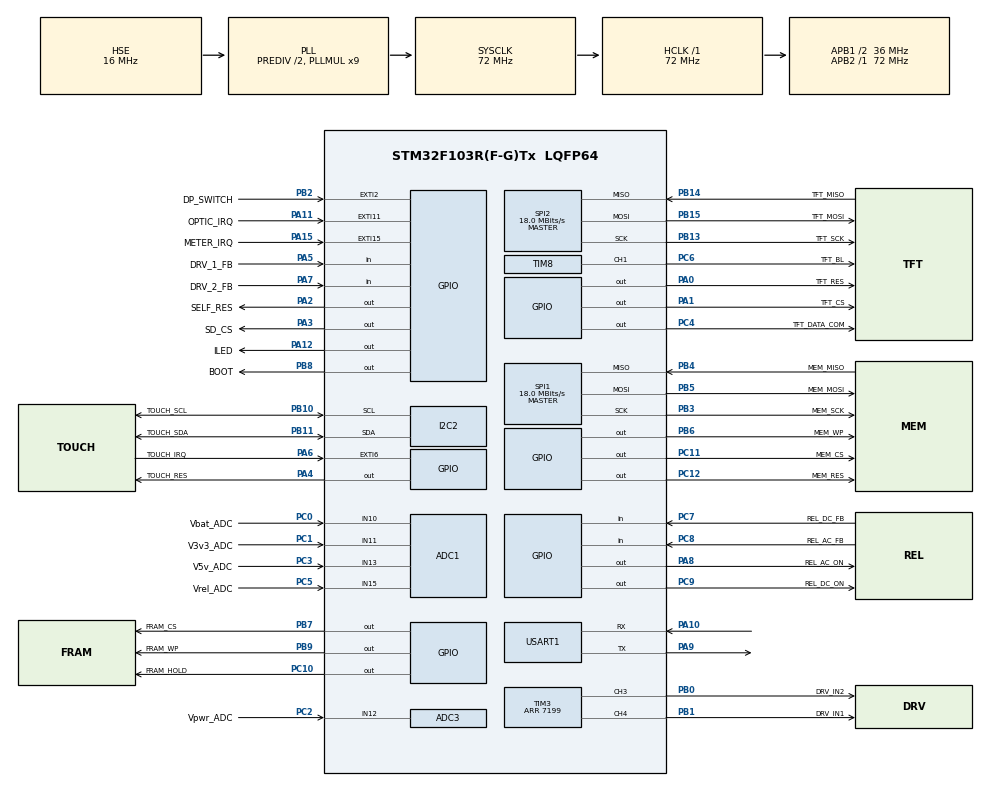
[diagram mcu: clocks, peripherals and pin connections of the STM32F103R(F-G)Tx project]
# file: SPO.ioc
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ADC1.Channel-0\#ChannelRegularConversion=ADC_CHANNEL_10
ADC1.Channel-1\#ChannelRegularConversion=ADC_CHANNEL_11
ADC1.Channel-2\#ChannelRegularConversion=ADC_CHANNEL_13
ADC1.Channel-3\#ChannelRegularConversion=ADC_CHANNEL_15
ADC1.Channel-4\#ChannelRegularConversion=ADC_CHANNEL_TEMPSENSOR
ADC1.ContinuousConvMode=ENABLE
ADC1.NbrOfConversion=5
ADC1.NbrOfConversionFlag=1
ADC1.Rank-0\#ChannelRegularConversion=1
ADC1.Rank-1\#ChannelRegularConversion=2
ADC1.Rank-2\#ChannelRegularConversion=3
ADC1.Rank-3\#ChannelRegularConversion=4
ADC1.Rank-4\#ChannelRegularConversion=5
ADC1.SamplingTime-0\#ChannelRegularConversion=ADC_SAMPLETIME_239CYCLES_5
ADC1.SamplingTime-1\#ChannelRegularConversion=ADC_SAMPLETIME_239CYCLES_5
ADC1.SamplingTime-2\#ChannelRegularConversion=ADC_SAMPLETIME_239CYCLES_5
ADC1.SamplingTime-3\#ChannelRegularConversion=ADC_SAMPLETIME_239CYCLES_5
ADC1.SamplingTime-4\#ChannelRegularConversion=ADC_SAMPLETIME_239CYCLES_5
ADC1.master=1
ADC3.AWD1HighThreshold=4095
ADC3.AWD1ITMode=ENABLE
ADC3.AWD1LowThreshold=0
ADC3.Channel-0\#ChannelRegularConversion=ADC_CHANNEL_12
ADC3.ContinuousConvMode=ENABLE
ADC3.EnableAnalogWatchDog=true
ADC3.NbrOfConversionFlag=1
ADC3.Rank-0\#ChannelRegularConversion=1
ADC3.SamplingTime-0\#ChannelRegularConversion=ADC_SAMPLETIME_239CYCLES_5
ADC3.WatchdogChannel=ADC_CHANNEL_12
Dma.ADC1.1.Direction=DMA_PERIPH_TO_MEMORY
Dma.ADC1.1.Instance=DMA1_Channel1
Dma.ADC1.1.MemDataAlignment=DMA_MDATAALIGN_HALFWORD
Dma.ADC1.1.MemInc=DMA_MINC_ENABLE
Dma.ADC1.1.Mode=DMA_CIRCULAR
Dma.ADC1.1.PeriphDataAlignment=DMA_PDATAALIGN_HALFWORD
Dma.ADC1.1.PeriphInc=DMA_PINC_DISABLE
Dma.ADC1.1.Priority=DMA_PRIORITY_LOW
Dma.ADC3.0.Direction=DMA_PERIPH_TO_MEMORY
Dma.ADC3.0.Instance=DMA2_Channel5
Dma.ADC3.0.MemDataAlignment=DMA_MDATAALIGN_HALFWORD
Dma.ADC3.0.MemInc=DMA_MINC_DISABLE
Dma.ADC3.0.Mode=DMA_CIRCULAR
Dma.ADC3.0.PeriphDataAlignment=DMA_PDATAALIGN_HALFWORD
Dma.ADC3.0.PeriphInc=DMA_PINC_DISABLE
Dma.ADC3.0.Priority=DMA_PRIORITY_LOW
Dma.Request0=ADC3
Dma.Request1=ADC1
Dma.Request2=SPI1_RX
Dma.Request3=SPI1_TX
Dma.SPI1_RX.2.Direction=DMA_PERIPH_TO_MEMORY
Dma.SPI1_RX.2.Instance=DMA1_Channel2
Dma.SPI1_RX.2.MemDataAlignment=DMA_MDATAALIGN_BYTE
Dma.SPI1_RX.2.MemInc=DMA_MINC_ENABLE
Dma.SPI1_RX.2.Mode=DMA_NORMAL
Dma.SPI1_RX.2.PeriphDataAlignment=DMA_PDATAALIGN_BYTE
Dma.SPI1_RX.2.PeriphInc=DMA_PINC_DISABLE
Dma.SPI1_RX.2.Priority=DMA_PRIORITY_LOW
Dma.SPI1_TX.3.Direction=DMA_MEMORY_TO_PERIPH
Dma.SPI1_TX.3.Instance=DMA1_Channel3
Dma.SPI1_TX.3.MemDataAlignment=DMA_MDATAALIGN_BYTE
Dma.SPI1_TX.3.MemInc=DMA_MINC_ENABLE
Dma.SPI1_TX.3.Mode=DMA_NORMAL
Dma.SPI1_TX.3.PeriphDataAlignment=DMA_PDATAALIGN_BYTE
Dma.SPI1_TX.3.PeriphInc=DMA_PINC_DISABLE
Dma.SPI1_TX.3.Priority=DMA_PRIORITY_LOW
IWDG.Reload=110
Mcu.Family=STM32F1
Mcu.Name=STM32F103R(F-G)Tx
Mcu.Package=LQFP64
Mcu.UserConstants=TOUCH_I2C,&hi2c2;MOT_TIM,TIM3;LOGIC_TIM,TIM10;PISTON_CONTROL_TIM,TIM4;MEM_SPI,&hspi1;TFT_SPI,&hspi2;OPTIC_DELAY_TIM,TIM13;FLOW_TIM,TIM7;BL_TIM,TIM8;DELAY_TIM,TIM14;_10kHz_Presc,7199;PLANNER_TIM,TIM11;RAM_TIM,&htim12
NVIC.ADC1_2_IRQn=true\:4\:0\:true\:false\:true\:true\:true\:true
NVIC.ADC3_IRQn=true\:4\:0\:true\:false\:true\:true\:true\:true
NVIC.DMA1_Channel1_IRQn=true\:0\:0\:true\:false\:true\:false\:true\:true
NVIC.DMA1_Channel2_IRQn=true\:0\:0\:true\:false\:true\:false\:true\:true
NVIC.DMA1_Channel3_IRQn=true\:0\:0\:true\:false\:true\:false\:true\:true
NVIC.DMA2_Channel4_5_IRQn=true\:0\:0\:false\:false\:true\:false\:true\:true
NVIC.EXTI15_10_IRQn=true\:0\:0\:true\:false\:true\:true\:true\:true
NVIC.EXTI2_IRQn=true\:1\:0\:true\:false\:true\:true\:true\:true
NVIC.EXTI9_5_IRQn=true\:0\:0\:true\:false\:true\:true\:true\:true
NVIC.I2C2_ER_IRQn=true\:3\:0\:true\:false\:true\:true\:true\:true
NVIC.I2C2_EV_IRQn=true\:3\:0\:true\:false\:true\:true\:true\:true
NVIC.PriorityGroup=NVIC_PRIORITYGROUP_3
NVIC.RTC_IRQn=true\:5\:0\:true\:false\:true\:true\:true\:true
NVIC.SPI1_IRQn=true\:3\:0\:true\:false\:true\:true\:true\:true
NVIC.SPI2_IRQn=true\:3\:0\:true\:false\:true\:true\:true\:true
NVIC.TIM1_TRG_COM_TIM11_IRQn=true\:2\:1\:true\:false\:true\:true\:true\:true
NVIC.TIM1_UP_TIM10_IRQn=true\:1\:0\:true\:false\:true\:true\:true\:true
NVIC.TIM3_IRQn=true\:1\:0\:true\:false\:true\:true\:true\:true
NVIC.TIM4_IRQn=true\:1\:1\:true\:false\:true\:true\:true\:true
NVIC.TIM6_IRQn=true\:0\:0\:false\:false\:true\:true\:true\:true
NVIC.TIM7_IRQn=true\:1\:0\:true\:false\:true\:true\:true\:true
NVIC.TIM8_BRK_TIM12_IRQn=true\:4\:0\:true\:false\:true\:true\:true\:true
NVIC.TIM8_TRG_COM_TIM14_IRQn=true\:2\:0\:true\:false\:true\:true\:true\:true
NVIC.TIM8_UP_TIM13_IRQn=true\:0\:1\:true\:false\:true\:true\:true\:true
NVIC.USART1_IRQn=true\:4\:0\:true\:false\:true\:true\:true\:true
PA0-WKUP.GPIO_Label=TFT_RES
PA0-WKUP.PinState=GPIO_PIN_SET
PA0-WKUP.Signal=GPIO_Output
PA1.GPIO_Label=TFT_CS
PA1.PinState=GPIO_PIN_SET
PA1.Signal=GPIO_Output
PA10.Mode=Asynchronous
PA10.Signal=USART1_RX
PA11.GPIO_Label=OPTIC_IRQ
PA11.GPIO_ModeDefaultEXTI=GPIO_MODE_IT_RISING_FALLING
PA11.Signal=GPXTI11
PA12.GPIO_Label=ILED
PA12.PinState=GPIO_PIN_SET
PA12.Signal=GPIO_Output
PA13.Mode=Serial_Wire
PA13.Signal=SYS_JTMS-SWDIO
PA14.Mode=Serial_Wire
PA14.Signal=SYS_JTCK-SWCLK
PA15.GPIO_Label=METER_IRQ
PA15.GPIO_ModeDefaultEXTI=GPIO_MODE_IT_RISING_FALLING
PA15.GPIO_PuPd=GPIO_PULLUP
PA15.Signal=GPXTI15
PA2.GPIO_Label=SELF_RES
PA2.Signal=GPIO_Output
PA3.GPIO_Label=SD_CS
PA3.PinState=GPIO_PIN_SET
PA3.Signal=GPIO_Output
PA4.GPIO_Label=TOUCH_RES
PA4.PinState=GPIO_PIN_SET
PA4.Signal=GPIO_Output
PA5.GPIO_Label=DRV_1_FB
PA5.Signal=GPIO_Input
PA6.GPIO_Label=TOUCH_IRQ
PA6.GPIO_PuPd=GPIO_PULLUP
PA6.Signal=GPXTI6
PA7.GPIO_Label=DRV_2_FB
PA7.Signal=GPIO_Input
PA8.GPIO_Label=REL_AC_ON
PA8.Signal=GPIO_Output
PA9.Mode=Asynchronous
PA9.Signal=USART1_TX
PB0.GPIO_Label=DRV_IN2
PB0.Signal=S_TIM3_CH3
PB1.GPIO_Label=DRV_IN1
PB1.Signal=S_TIM3_CH4
PB10.GPIO_Label=TOUCH_SCL
PB10.Mode=I2C
PB10.Signal=I2C2_SCL
PB11.GPIO_Label=TOUCH_SDA
PB11.Mode=I2C
PB11.Signal=I2C2_SDA
PB13.GPIO_Label=TFT_SCK
PB13.Mode=Full_Duplex_Master
PB13.Signal=SPI2_SCK
PB14.GPIO_Label=TFT_MISO
PB14.Mode=Full_Duplex_Master
PB14.Signal=SPI2_MISO
PB15.GPIO_Label=TFT_MOSI
PB15.Mode=Full_Duplex_Master
PB15.Signal=SPI2_MOSI
PB2.GPIO_Label=DP_SWITCH
PB2.Signal=GPXTI2
PB3.GPIO_Label=MEM_SCK
PB3.Mode=Full_Duplex_Master
PB3.Signal=SPI1_SCK
PB4.GPIO_Label=MEM_MISO
PB4.Mode=Full_Duplex_Master
PB4.Signal=SPI1_MISO
PB5.GPIO_Label=MEM_MOSI
PB5.Mode=Full_Duplex_Master
PB5.Signal=SPI1_MOSI
PB6.GPIO_Label=MEM_WP
PB6.PinState=GPIO_PIN_RESET
PB6.Signal=GPIO_Output
PB7.GPIO_Label=FRAM_CS
PB7.PinState=GPIO_PIN_SET
PB7.Signal=GPIO_Output
PB8.GPIO_Label=BOOT
PB8.Signal=GPIO_Output
PB9.GPIO_Label=FRAM_WP
PB9.PinState=GPIO_PIN_RESET
PB9.Signal=GPIO_Output
PC0.GPIO_Label=Vbat_ADC
PC0.Signal=ADCx_IN10
PC1.GPIO_Label=V3v3_ADC
PC1.Signal=ADCx_IN11
PC10.GPIO_Label=FRAM_HOLD
PC10.PinState=GPIO_PIN_RESET
PC10.Signal=GPIO_Output
PC11.GPIO_Label=MEM_CS
PC11.PinState=GPIO_PIN_SET
PC11.Signal=GPIO_Output
PC12.GPIO_Label=MEM_RES
PC12.PinState=GPIO_PIN_RESET
PC12.Signal=GPIO_Output
PC14-OSC32_IN.Mode=LSE-External-Oscillator
PC14-OSC32_IN.Signal=RCC_OSC32_IN
PC15-OSC32_OUT.Mode=LSE-External-Oscillator
PC15-OSC32_OUT.Signal=RCC_OSC32_OUT
PC2.GPIO_Label=Vpwr_ADC
PC2.Signal=ADCx_IN12
PC3.GPIO_Label=V5v_ADC
PC3.Signal=ADCx_IN13
PC4.GPIO_Label=TFT_DATA_COM
PC4.PinState=GPIO_PIN_SET
PC4.Signal=GPIO_Output
PC5.GPIO_Label=Vrel_ADC
PC5.Signal=ADCx_IN15
PC6.GPIO_Label=TFT_BL
PC6.Signal=S_TIM8_CH1
PC7.GPIO_Label=REL_DC_FB
PC7.Signal=GPIO_Input
PC8.GPIO_Label=REL_AC_FB
PC8.Signal=GPIO_Input
PC9.GPIO_Label=REL_DC_ON
PC9.GPIO_PuPd=GPIO_PULLDOWN
PC9.Signal=GPIO_Output
PD0-OSC_IN.Mode=HSE-External-Oscillator
PD0-OSC_IN.Signal=RCC_OSC_IN
PD1-OSC_OUT.Mode=HSE-External-Oscillator
PD1-OSC_OUT.Signal=RCC_OSC_OUT
ProjectManager.HeapSize=0x800
ProjectManager.StackSize=0x1000
ProjectManager.TargetToolchain=MDK-ARM V5.32
RCC.ADCPresc=RCC_ADCPCLK2_DIV6
RCC.AHBFreq_Value=72000000
RCC.APB1CLKDivider=RCC_HCLK_DIV2
RCC.APB1Freq_Value=36000000
RCC.APB1TimFreq_Value=72000000
RCC.APB2Freq_Value=72000000
RCC.APB2TimFreq_Value=72000000
RCC.EnbaleCSS=true
RCC.HCLKFreq_Value=72000000
RCC.HSEDivPLL=RCC_HSE_PREDIV_DIV2
RCC.HSE_VALUE=16000000
RCC.PLLMUL=RCC_PLL_MUL9
RCC.PLLSourceVirtual=RCC_PLLSOURCE_HSE
RCC.RTCClockSelection=RCC_RTCCLKSOURCE_LSE
RCC.SYSCLKFreq_VALUE=72000000
RCC.SYSCLKSource=RCC_SYSCLKSOURCE_PLLCLK
RCC.USBFreq_Value=72000000
RTC.AsynchPrediv=32768
RTC.AutoPrediv=0
RTC.Date=7
RTC.Format=RTC_FORMAT_BCD
RTC.Hours=12
RTC.Month=RTC_MONTH_APRIL
RTC.WeekDay=RTC_WEEKDAY_TUESDAY
SH.ADCx_IN10.0=ADC1_IN10,IN10
SH.ADCx_IN11.0=ADC1_IN11,IN11
SH.ADCx_IN12.0=ADC3_IN12,IN12
SH.ADCx_IN13.0=ADC1_IN13,IN13
SH.ADCx_IN15.0=ADC1_IN15,IN15
SH.S_TIM3_CH3.0=TIM3_CH3,PWM Generation3 CH3
SH.S_TIM3_CH4.0=TIM3_CH4,PWM Generation4 CH4
SH.S_TIM8_CH1.0=TIM8_CH1,PWM Generation1 CH1
SPI1.BaudRatePrescaler=SPI_BAUDRATEPRESCALER_4
SPI1.CalculateBaudRate=18.0 MBits/s
SPI1.Direction=SPI_DIRECTION_2LINES
SPI1.Mode=SPI_MODE_MASTER
SPI1.VirtualType=VM_MASTER
SPI2.CalculateBaudRate=18.0 MBits/s
SPI2.Direction=SPI_DIRECTION_2LINES
SPI2.Mode=SPI_MODE_MASTER
SPI2.VirtualType=VM_MASTER
TIM10.Period=99
TIM10.Prescaler=_10kHz_Presc
TIM11.Period=99
TIM11.Prescaler=_10kHz_Presc
TIM12.Channel-Output\ Compare1\ No\ Output=TIM_CHANNEL_1
TIM12.Period=39
TIM12.Prescaler=_10kHz_Presc
TIM13.Period=1
TIM13.Prescaler=_10kHz_Presc
TIM14.Period=71
TIM3.Channel-PWM\ Generation3\ CH3=TIM_CHANNEL_3
TIM3.Channel-PWM\ Generation4\ CH4=TIM_CHANNEL_4
TIM3.Period=7199
TIM4.Period=99
TIM4.Prescaler=_10kHz_Presc
TIM6.Period=1
TIM6.Prescaler=_10kHz_Presc
TIM8.Channel-PWM\ Generation1\ CH1=TIM_CHANNEL_1
TIM8.OCMode_PWM-PWM\ Generation1\ CH1=TIM_OCMODE_PWM1
TIM8.Period=99
TIM8.Prescaler=_10kHz_Presc
USART1.Parity=PARITY_NONE
USART1.StopBits=STOPBITS_2
USART1.VirtualMode=VM_ASYNC
USART1.WordLength=WORDLENGTH_8B
VP_ADC1_TempSens_Input.Mode=IN-TempSens
VP_CRC_VS_CRC.Mode=CRC_Activate
VP_IWDG_VS_IWDG.Mode=IWDG_Activate
VP_RTC_No_RTC_Output.Mode=RTC_OUT_NO
VP_RTC_VS_RTC_Activate.Mode=RTC_Enabled
VP_RTC_VS_RTC_Calendar.Mode=RTC_Calendar
VP_TIM10_VS_ClockSourceINT.Mode=Enable_Timer
VP_TIM11_VS_ClockSourceINT.Mode=Enable_Timer
VP_TIM12_VS_no_output1.Mode=Output Compare1 No Output
VP_TIM13_VS_ClockSourceINT.Mode=Enable_Timer
VP_TIM14_VS_ClockSourceINT.Mode=Enable_Timer
VP_TIM4_VS_ClockSourceINT.Mode=Internal
VP_TIM6_VS_ClockSourceINT.Mode=Enable_Timer
VP_TIM7_VS_ClockSourceINT.Mode=Enable_Timer
board=custom

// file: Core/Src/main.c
/* USER CODE BEGIN Header */
/**
  ******************************************************************************
  * @file           : main.c
  * @brief          : Main program body
  ******************************************************************************
  * @attention
  *
  * Copyright (c) 2023 STMicroelectronics.
  * All rights reserved.
  *
  * This software is licensed under terms that can be found in the LICENSE file
  * in the root directory of this software component.
  * If no LICENSE file comes with this software, it is provided AS-IS.
  *
  ******************************************************************************
  */
/* USER CODE END Header */
#include "main.h"
#include "adc.h"
#include "crc.h"
#include "dma.h"
#include "i2c.h"
#include "iwdg.h"
#include "rtc.h"
#include "spi.h"
#include "tim.h"
#include "usart.h"
#include "gpio.h"

/* USER CODE BEGIN PV */
	volatile uint32_t _1ms_cnt;
	uint8_t* errorCause;

	//filter_t fil;
	//uint32_t input = 0, output = 0;
	//uint32_t resetCounter __attribute__ ((section (".noinit")));
/* USER CODE END PV */

void SystemClock_Config(void);

int main(void)
 {
   /* USER CODE BEGIN 1 */
	#ifdef PROD_TEST
	#warning "This version is for production test only."
	#endif
//	resetCounter += LL_RCC_IsActiveFlag_PINRST()?1:0;
	LL_RCC_ClearResetFlags();

	_1ms_cnt = 0;
	__disable_irq();
  /* USER CODE END 1 */

  /* MCU Configuration--------------------------------------------------------*/

  /* Reset of all peripherals, Initializes the Flash interface and the Systick. */
  HAL_Init();

  /* Configure the system clock */
  SystemClock_Config();

  /* USER CODE BEGIN SysInit */
	LL_APB2_GRP1_EnableClock(LL_APB2_GRP1_PERIPH_TIM8);
  /* USER CODE END SysInit */

  /* Initialize all configured peripherals */
  MX_GPIO_Init();
  MX_DMA_Init();
  MX_RTC_Init();
  MX_ADC1_Init();
  MX_I2C2_Init();
  MX_SPI1_Init();
  MX_SPI2_Init();
  MX_TIM3_Init();
  MX_TIM8_Init();
  MX_USART1_UART_Init();
  MX_ADC3_Init();
  MX_TIM11_Init();
  MX_TIM13_Init();
  MX_TIM14_Init();
  MX_CRC_Init();
  MX_TIM10_Init();
  MX_TIM7_Init();
  MX_TIM4_Init();
  //MX_IWDG_Init();
  MX_TIM6_Init();
  MX_TIM12_Init();
  /* USER CODE BEGIN 2 */
#ifndef PROD_TEST
	SYS_init();
#else
	ProductionTest();
#endif
  /* USER CODE END 2 */

  /* Infinite loop */
  /* USER CODE BEGIN WHILE */

	noTouchDelay = 1000;

//	FontTest(&Oxygen_Mono_8);
//	FontTest(&Oxygen_Mono_12);
//	FontTest(&Oxygen_Mono_16);
//	FontTest(&Oxygen_Mono_20);
//	FontTest(&Oxygen_Mono_24);
//	showLoadTypeFrame();

	ShowMainFrame();

  while (1)
  {

    /* USER CODE END WHILE */

  }
}

void SystemClock_Config(void)
{
  RCC_OscInitTypeDef RCC_OscInitStruct = {0};
  RCC_ClkInitTypeDef RCC_ClkInitStruct = {0};
  RCC_PeriphCLKInitTypeDef PeriphClkInit = {0};

  /** Initializes the RCC Oscillators according to the specified parameters
  * in the RCC_OscInitTypeDef structure.
  */
  RCC_OscInitStruct.OscillatorType = RCC_OSCILLATORTYPE_LSI|RCC_OSCILLATORTYPE_HSE
                              |RCC_OSCILLATORTYPE_LSE;
  RCC_OscInitStruct.HSEState = RCC_HSE_ON;
  RCC_OscInitStruct.HSEPredivValue = RCC_HSE_PREDIV_DIV2;
  RCC_OscInitStruct.LSEState = RCC_LSE_ON;
  RCC_OscInitStruct.HSIState = RCC_HSI_ON;
  RCC_OscInitStruct.LSIState = RCC_LSI_ON;
  RCC_OscInitStruct.PLL.PLLState = RCC_PLL_ON;
  RCC_OscInitStruct.PLL.PLLSource = RCC_PLLSOURCE_HSE;
  RCC_OscInitStruct.PLL.PLLMUL = RCC_PLL_MUL9;
  if (HAL_RCC_OscConfig(&RCC_OscInitStruct) != HAL_OK)
  {
    Error_Handler();
  }

  /** Initializes the CPU, AHB and APB buses clocks
  */
  RCC_ClkInitStruct.ClockType = RCC_CLOCKTYPE_HCLK|RCC_CLOCKTYPE_SYSCLK
                              |RCC_CLOCKTYPE_PCLK1|RCC_CLOCKTYPE_PCLK2;
  RCC_ClkInitStruct.SYSCLKSource = RCC_SYSCLKSOURCE_PLLCLK;
  RCC_ClkInitStruct.AHBCLKDivider = RCC_SYSCLK_DIV1;
  RCC_ClkInitStruct.APB1CLKDivider = RCC_HCLK_DIV2;
  RCC_ClkInitStruct.APB2CLKDivider = RCC_HCLK_DIV1;

  if (HAL_RCC_ClockConfig(&RCC_ClkInitStruct, FLASH_LATENCY_2) != HAL_OK)
  {
    Error_Handler();
  }
  PeriphClkInit.PeriphClockSelection = RCC_PERIPHCLK_RTC|RCC_PERIPHCLK_ADC;
  PeriphClkInit.RTCClockSelection = RCC_RTCCLKSOURCE_LSE;
  PeriphClkInit.AdcClockSelection = RCC_ADCPCLK2_DIV6;
  if (HAL_RCCEx_PeriphCLKConfig(&PeriphClkInit) != HAL_OK)
  {
    Error_Handler();
  }

  /** Enables the Clock Security System
  */
  HAL_RCC_EnableCSS();
}

void Error_Handler(void)
{
  __disable_irq();
  while (1)
  {
  }
}
